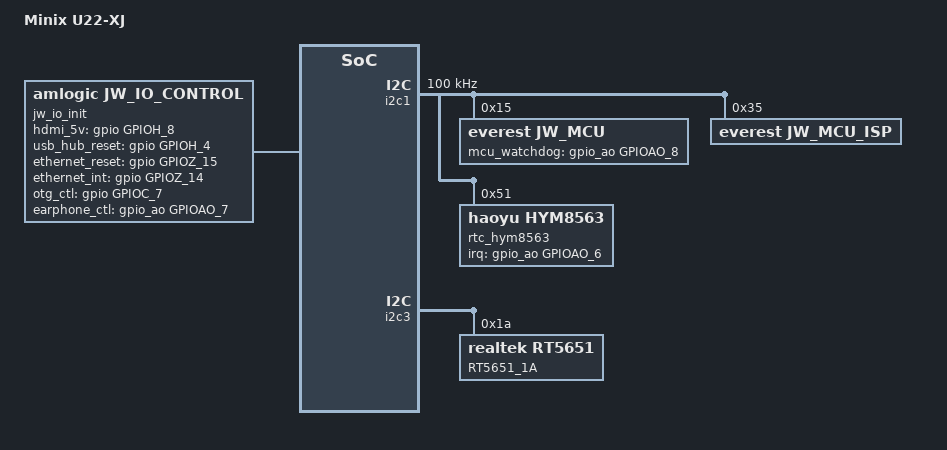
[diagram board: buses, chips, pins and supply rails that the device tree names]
#include "coreelec_g12b_a.dtsi"

/{
	model = "Minix U22-XJ";
	coreelec-dt-id = "g12b_s922x_minix_u22xj";

	memory@00000000 {
		linux,usable-memory = <0x0 0x0 0x0 0xf5000000>;
	};

	/delete-node/ t9015;
	/delete-node/ rtc;

	auge_sound {
		aml-audio-card,dai-link@1 {
			codec {
				sound-dai = <&RT5651_1A>;
			};
		};
	};

	/* Minix original gpio driver settings */
	jw_io_init {
		compatible = "amlogic, jw_io_control";
		dev_name = "jw_io_control";
		status = "okay";
		hdmi_5v_gpio = <&gpio GPIOH_8 GPIO_ACTIVE_HIGH>;
		usb_hub_reset = <&gpio GPIOH_4 GPIO_ACTIVE_HIGH>;
		ethernet_reset = <&gpio GPIOZ_15 GPIO_ACTIVE_HIGH>;
		ethernet_int = <&gpio GPIOZ_14 GPIO_ACTIVE_HIGH>;
		otg_ctl_gpio = <&gpio GPIOC_7 GPIO_ACTIVE_HIGH>;
		earphone_ctl_gpio = <&gpio_ao GPIOAO_7 GPIO_ACTIVE_HIGH>;
	};

	gpio-reset {
		compatible = "linux,gpio-reset";
		usb_hub_reset {
			gpios = <&gpio GPIOH_4 GPIO_ACTIVE_LOW>;
			asserted-state = <0>;
			duration-ms = <1000>;
		};
	};
};

&i2c1 {
	status = "okay";
	pinctrl-names = "default";
	pinctrl-0 = <&i2c1_master_pins3>;
	clock-frequency = <100000>;

	/* Minix power control MCU */
	jw_mcu: jw_mcu@15 {
		compatible = "everest,jw_mcu";
		reg = <0x15>;
		mcu_watchdog_gpio = <&gpio_ao GPIOAO_8 GPIO_ACTIVE_HIGH>;
		status = "okay";
	};

	/* Minix extra control MCU */
	jw_mcu_isp: jw_mcu_isp@35 {
		compatible = "everest,jw_mcu_isp";
		reg = <0x35>;
		status = "okay";
	};

	rtc_hym8563: rtc_hym8563@51 {
		compatible = "haoyu,hym8563";
		reg = <0x51>;
		irq_gpio = <&gpio_ao GPIOAO_6 GPIO_ACTIVE_HIGH>;
	};
};

&i2c3 {
	RT5651_1A: RT5651_1A@1a {
		compatible = "realtek,rt5651";
		#sound-dai-cells = <0>;
		reg = <0x1a>;
		status = "okay";
	};
};

&sd_emmc_b {
	sd {
		vol_switch = <&gpio_ao GPIOAO_2 GPIO_ACTIVE_HIGH>;
	};
};

&usb3_phy_v2 {
	gpio-vbus-power = "GPIOH_5";
	gpios = <&gpio GPIOH_5 GPIO_ACTIVE_HIGH>;
};
